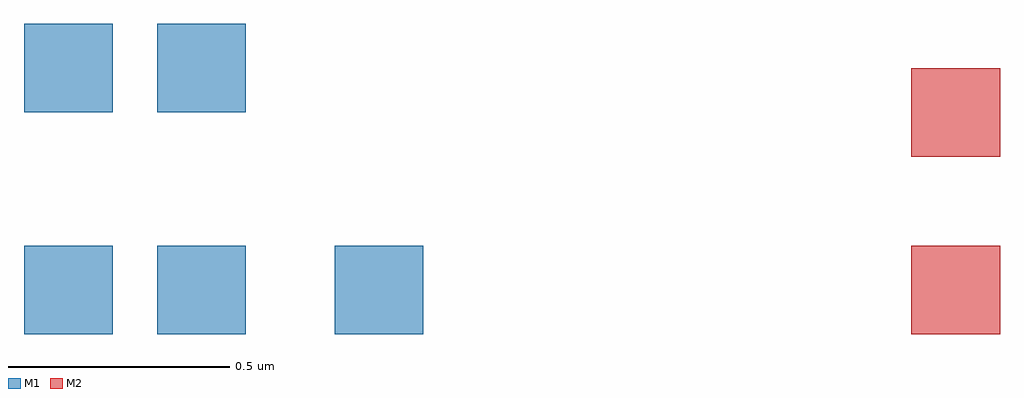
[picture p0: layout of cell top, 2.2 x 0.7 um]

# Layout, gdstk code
import gdstk
lib = gdstk.Library(unit=1e-6, precision=1e-09)
def R(c, l, rs):  # rectangles x0, y0, x1, y1
    for r in rs: c.add(gdstk.rectangle(r[:2], r[2:], *l))
M1 = (49, 0)
M2 = (51, 0)

top = lib.new_cell('top')
R(top, M1, [(0,0,0.2,0.2), (0.3,0,0.5,0.2), (0.7,0,0.9,0.2), (0,0.5,0.2,0.7), (0.3,0.5,0.5,0.7)])
R(top, M2, [(2,0,2.2,0.2), (2,0.4,2.2,0.6)])

lib.write_gds('top.gds')
